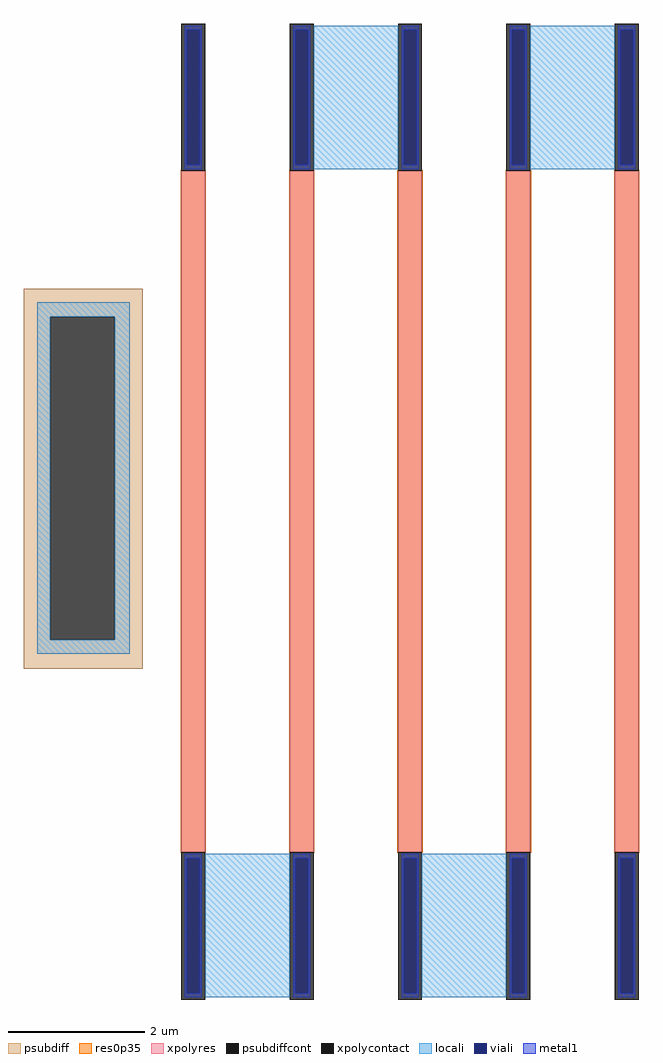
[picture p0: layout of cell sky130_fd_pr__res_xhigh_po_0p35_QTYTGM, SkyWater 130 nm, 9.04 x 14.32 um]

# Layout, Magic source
magic
tech sky130A
magscale 1 2
<< psubdiff >>
rect -1134 572 -784 654
rect -1134 -376 -1056 572
rect -866 -376 -784 572
rect -1134 -462 -784 -376
<< psubdiffcont >>
rect -1056 -376 -866 572
<< xpolycontact >>
rect -671 1000 -601 1432
rect -671 -1432 -601 -1000
rect -353 1000 -283 1432
rect -353 -1432 -283 -1000
rect -35 1000 35 1432
rect -35 -1432 35 -1000
rect 283 1000 353 1432
rect 283 -1432 353 -1000
rect 601 1000 671 1432
rect 601 -1432 671 -1000
<< xpolyres >>
rect -671 -1000 -601 1000
rect -353 -1000 -283 1000
rect -35 -1000 35 1000
rect 283 -1000 353 1000
rect 601 -1000 671 1000
<< locali >>
rect -283 1004 -35 1426
rect 353 1004 601 1426
rect -1094 572 -822 614
rect -1094 -376 -1056 572
rect -866 -376 -822 572
rect -1094 -418 -822 -376
rect -601 -1426 -353 -1004
rect 35 -1426 283 -1004
<< viali >>
rect -655 1017 -617 1414
rect -337 1017 -299 1414
rect -19 1017 19 1414
rect 299 1017 337 1414
rect 617 1017 655 1414
rect -655 -1414 -617 -1017
rect -337 -1414 -299 -1017
rect -19 -1414 19 -1017
rect 299 -1414 337 -1017
rect 617 -1414 655 -1017
<< metal1 >>
rect -661 1414 -611 1426
rect -661 1017 -655 1414
rect -617 1017 -611 1414
rect -661 1005 -611 1017
rect -343 1414 -293 1426
rect -343 1017 -337 1414
rect -299 1017 -293 1414
rect -343 1005 -293 1017
rect -25 1414 25 1426
rect -25 1017 -19 1414
rect 19 1017 25 1414
rect -25 1005 25 1017
rect 293 1414 343 1426
rect 293 1017 299 1414
rect 337 1017 343 1414
rect 293 1005 343 1017
rect 611 1414 661 1426
rect 611 1017 617 1414
rect 655 1017 661 1414
rect 611 1005 661 1017
rect -661 -1017 -611 -1005
rect -661 -1414 -655 -1017
rect -617 -1414 -611 -1017
rect -661 -1426 -611 -1414
rect -343 -1017 -293 -1005
rect -343 -1414 -337 -1017
rect -299 -1414 -293 -1017
rect -343 -1426 -293 -1414
rect -25 -1017 25 -1005
rect -25 -1414 -19 -1017
rect 19 -1414 25 -1017
rect -25 -1426 25 -1414
rect 293 -1017 343 -1005
rect 293 -1414 299 -1017
rect 337 -1414 343 -1017
rect 293 -1426 343 -1414
rect 611 -1017 661 -1005
rect 611 -1414 617 -1017
rect 655 -1414 661 -1017
rect 611 -1426 661 -1414
<< res0p35 >>
rect -673 -1002 -599 1002
rect -355 -1002 -281 1002
rect -37 -1002 37 1002
rect 281 -1002 355 1002
rect 599 -1002 673 1002
<< properties >>
string gencell sky130_fd_pr__res_xhigh_po_0p35
string library sky130
string parameters w 0.350 l 10 m 1 nx 5 wmin 0.350 lmin 0.50 rho 2000 val 58.218k dummy 0 dw 0.0 term 188.2 sterm 0.0 caplen 0 wmax 0.350 guard 0 glc 0 grc 0 gtc 0 gbc 0 compatible {sky130_fd_pr__res_xhigh_po_0p35  sky130_fd_pr__res_xhigh_po_0p69 sky130_fd_pr__res_xhigh_po_1p41  sky130_fd_pr__res_xhigh_po_2p85 sky130_fd_pr__res_xhigh_po_5p73} full_metal 0 n_guard 0 hv_guard 0 vias 1 viagb 0 viagt 0 viagl 0 viagr 0
<< end >>
